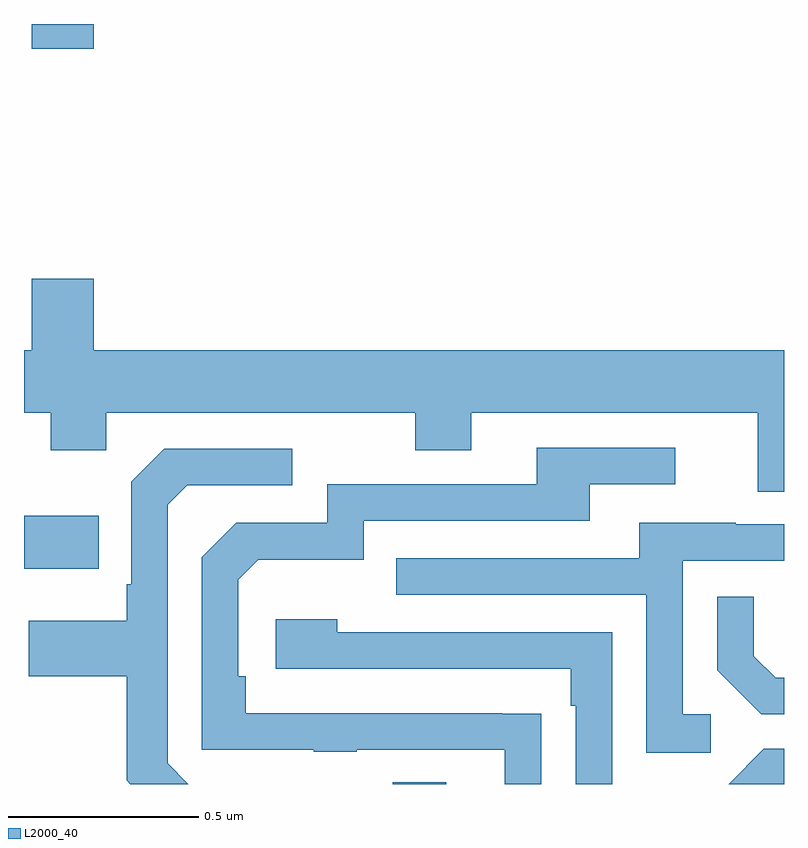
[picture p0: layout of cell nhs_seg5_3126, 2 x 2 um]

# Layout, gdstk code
import gdstk
lib = gdstk.Library(unit=1e-6, precision=1e-09)
def R(c, l, rs):  # rectangles x0, y0, x1, y1
    for r in rs: c.add(gdstk.rectangle(r[:2], r[2:], *l))
def P(c, l, *ps):  # polygons
    for p in ps: c.add(gdstk.Polygon(p, *l))
L2000_40 = (2000, 40)

nhs_seg5_3126 = lib.new_cell('nhs_seg5_3126')
R(nhs_seg5_3126, L2000_40, [(153.971,839.799,154.111,839.803), (153,840.365,153.197,840.505), (153.02,841.734,153.184,841.799)])
P(nhs_seg5_3126, L2000_40, [(153.02,840.94),(153,840.94),(153,840.776),(153.07,840.776),(153.07,840.677),(153.216,840.677),(153.216,840.776),(154.03,840.776),(154.03,840.677),(154.177,840.677),(154.177,840.776),(154.931,840.776),(154.931,840.568),(155,840.568),(155,840.94),(153.184,840.94),(153.184,841.129),(153.02,841.129)],
  [(154.361,839.984),(154.259,839.984),(154.259,839.985),(153.584,839.985),(153.584,840.082),(153.564,840.082),(153.564,840.336),(153.617,840.389),(153.894,840.389),(153.894,840.492),(154.489,840.492),(154.489,840.588),(154.714,840.588),(154.714,840.684),(154.349,840.684),(154.349,840.588),(153.798,840.588),(153.798,840.486),(153.558,840.486),(153.468,840.396),(153.468,839.889),(153.763,839.889),(153.763,839.884),(153.875,839.884),(153.875,839.889),(154.265,839.889),(154.265,839.799),(154.361,839.799)],
  [(153.378,839.853),(153.378,840.534),(153.429,840.585),(153.706,840.585),(153.706,840.681),(153.369,840.681),(153.282,840.594),(153.282,840.325),(153.27,840.325),(153.27,840.229),(153.013,840.229),(153.013,840.082),(153.27,840.082),(153.27,839.809),(153.28,839.799),(153.432,839.799)],
  [(154.807,839.982),(154.734,839.982),(154.734,840.387),(155,840.387),(155,840.483),(154.873,840.483),(154.873,840.487),(154.619,840.487),(154.619,840.393),(153.979,840.393),(153.979,840.297),(154.638,840.297),(154.638,839.881),(154.807,839.881)],
  [(155,840.078),(154.978,840.078),(154.921,840.135),(154.921,840.292),(154.824,840.292),(154.824,840.098),(154.94,839.982),(155,839.982)],
  [(154.548,840.198),(153.824,840.198),(153.824,840.232),(153.663,840.232),(153.663,840.102),(154.439,840.102),(154.439,840.005),(154.452,840.005),(154.452,839.799),(154.548,839.799)],
  [(155,839.892),(154.947,839.892),(154.854,839.799),(155,839.799)])

lib.write_gds('nhs_seg5_3126.gds')
